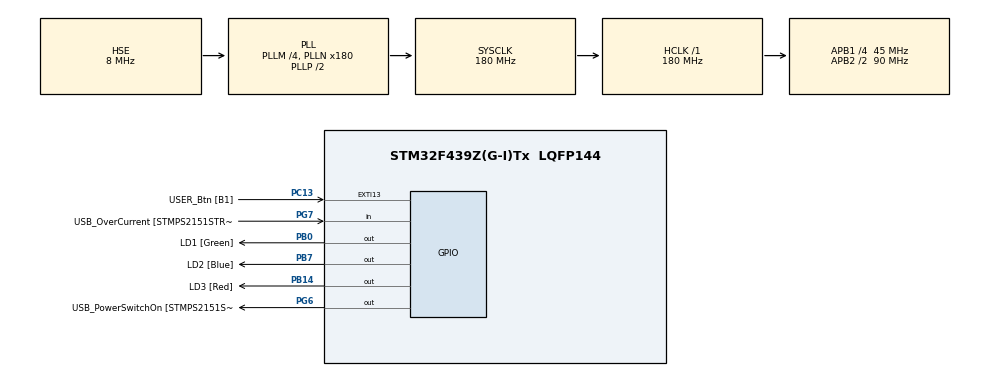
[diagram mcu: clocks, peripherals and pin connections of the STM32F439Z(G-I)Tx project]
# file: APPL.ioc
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FREERTOS.BinarySemaphores01=BinSem,Dynamic,NULL
FREERTOS.INCLUDE_vTaskDelayUntil=1
FREERTOS.Tasks01=TSK_Idle,-3,128,TSK_IdleFun,Default,NULL,Dynamic,NULL,NULL;TSK_Led,-1,128,TSK_LedFun,Default,NULL,Dynamic,NULL,NULL;TSK_Com,0,128,TSK_ComFun,Default,NULL,Dynamic,NULL,NULL;TSK_SIM,3,128,TSK_SIMFun,Default,NULL,Dynamic,NULL,NULL;TSK_MCP23017,3,128,TSK_MCP23017Fun,Default,NULL,Dynamic,NULL,NULL
Mcu.Family=STM32F4
Mcu.Name=STM32F439Z(G-I)Tx
Mcu.Package=LQFP144
Mcu.UserConstants=PERIOD_TSK_LED,10;PERIOD_TSK_COM,500;PERIOD_TSK_SIM,10
NVIC.PriorityGroup=NVIC_PRIORITYGROUP_4
NVIC.TIM1_UP_TIM10_IRQn=true\:5\:0\:false\:false\:true\:false\:false\:true\:true
NVIC.TIM2_IRQn=true\:5\:0\:false\:false\:true\:true\:true\:true\:true
NVIC.TimeBase=TIM1_UP_TIM10_IRQn
NVIC.TimeBaseIP=TIM1
PA1.GPIO_Label=RMII_REF_CLK [LAN8742A-CZ-TR_REFCLK0]
PA1.Signal=ETH_REF_CLK
PA10.GPIO_Label=USB_ID
PA10.Signal=USB_OTG_FS_ID
PA11.GPIO_Label=USB_DM
PA11.Signal=USB_OTG_FS_DM
PA12.GPIO_Label=USB_DP
PA12.Signal=USB_OTG_FS_DP
PA13.GPIO_Label=TMS
PA13.Mode=Serial_Wire
PA13.Signal=SYS_JTMS-SWDIO
PA14.GPIO_Label=TCK
PA14.Mode=Serial_Wire
PA14.Signal=SYS_JTCK-SWCLK
PA2.GPIO_Label=RMII_MDIO [LAN8742A-CZ-TR_MDIO]
PA2.Signal=ETH_MDIO
PA7.GPIO_Label=RMII_CRS_DV [LAN8742A-CZ-TR_CRS_DV]
PA7.Signal=ETH_CRS_DV
PA8.GPIO_Label=USB_SOF [TP1]
PA8.Signal=USB_OTG_FS_SOF
PA9.GPIO_Label=USB_VBUS
PA9.Signal=USB_OTG_FS_VBUS
PB0.GPIO_Label=LD1 [Green]
PB0.Signal=GPIO_Output
PB13.GPIO_Label=RMII_TXD1 [LAN8742A-CZ-TR_TXD1]
PB13.Signal=ETH_TXD1
PB14.GPIO_Label=LD3 [Red]
PB14.Signal=GPIO_Output
PB7.GPIO_Label=LD2 [Blue]
PB7.Signal=GPIO_Output
PC1.GPIO_Label=RMII_MDC [LAN8742A-CZ-TR_MDC]
PC1.Signal=ETH_MDC
PC13.GPIO_Label=USER_Btn [B1]
PC13.Signal=GPXTI13
PC14/OSC32_IN.Mode=LSE-External-Oscillator
PC14/OSC32_IN.Signal=RCC_OSC32_IN
PC15/OSC32_OUT.Mode=LSE-External-Oscillator
PC15/OSC32_OUT.Signal=RCC_OSC32_OUT
PC4.GPIO_Label=RMII_RXD0 [LAN8742A-CZ-TR_RXD0]
PC4.Signal=ETH_RXD0
PC5.GPIO_Label=RMII_RXD1 [LAN8742A-CZ-TR_RXD1]
PC5.Signal=ETH_RXD1
PD8.GPIO_Label=STLK_RX [STM32F103CBT6_PA3]
PD8.Signal=USART3_TX
PD9.GPIO_Label=STLK_TX [STM32F103CBT6_PA2]
PD9.Signal=USART3_RX
PG11.GPIO_Label=RMII_TX_EN [LAN8742A-CZ-TR_TXEN]
PG11.Signal=ETH_TX_EN
PG13.GPIO_Label=RMII_TXD0 [LAN8742A-CZ-TR_TXD0]
PG13.Signal=ETH_TXD0
PG6.GPIO_Label=USB_PowerSwitchOn [STMPS2151STR_EN]
PG6.Signal=GPIO_Output
PG7.GPIO_Label=USB_OverCurrent [STMPS2151STR_FAULT]
PG7.Signal=GPIO_Input
PH0/OSC_IN.GPIO_Label=MCO [STM32F103CBT6_PA8]
PH0/OSC_IN.Mode=HSE-External-Oscillator
PH0/OSC_IN.Signal=RCC_OSC_IN
PH1/OSC_OUT.Mode=HSE-External-Oscillator
PH1/OSC_OUT.Signal=RCC_OSC_OUT
ProjectManager.HeapSize=0x200
ProjectManager.StackSize=0x400
ProjectManager.TargetToolchain=STM32CubeIDE
RCC.48MHZClocksFreq_Value=51428571.428571425
RCC.AHBFreq_Value=180000000
RCC.APB1CLKDivider=RCC_HCLK_DIV4
RCC.APB1Freq_Value=45000000
RCC.APB1TimFreq_Value=90000000
RCC.APB2CLKDivider=RCC_HCLK_DIV2
RCC.APB2Freq_Value=90000000
RCC.APB2TimFreq_Value=180000000
RCC.CortexFreq_Value=180000000
RCC.HCLKFreq_Value=180000000
RCC.HSE_VALUE=8000000
RCC.HSI_VALUE=16000000
RCC.PLLM=4
RCC.PLLMUL=RCC_PLL_MUL9
RCC.PLLN=180
RCC.PLLQ=7
RCC.PLLSourceVirtual=RCC_PLLSOURCE_HSE
RCC.PRESCALERUSB=RCC_USBCLKSOURCE_PLL_DIV1_5
RCC.SYSCLKFreq_VALUE=180000000
RCC.SYSCLKSource=RCC_SYSCLKSOURCE_PLLCLK
RCC.SYSCLKSourceVirtual=RCC_SYSCLKSOURCE_PLLCLK
RCC.USBFreq_Value=48000000
RCC.VCOOutputFreq_Value=360000000
TIM10.Period=65536-1
TIM10.Prescaler=180-1
TIM2.AutoReloadPreload=TIM_AUTORELOAD_PRELOAD_ENABLE
TIM2.Period=19999
TIM2.Prescaler=95
VP_FREERTOS_VS_CMSIS_V1.Mode=CMSIS_V1
VP_SYS_VS_tim1.Mode=TIM1
VP_TIM10_VS_ClockSourceINT.Mode=Enable_Timer
VP_TIM2_VS_ClockSourceINT.Mode=Internal
board=NUCLEO-F439ZI

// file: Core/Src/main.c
/* USER CODE BEGIN Header */
/**
  ******************************************************************************
  * @file           : main.c
  * @brief          : Main program body
  ******************************************************************************
  * @attention
  *
  * Copyright (c) 2022 STMicroelectronics.
  * All rights reserved.
  *
  * This software is licensed under terms that can be found in the LICENSE file
  * in the root directory of this software component.
  * If no LICENSE file comes with this software, it is provided AS-IS.
  *
  ******************************************************************************
  */
/* USER CODE END Header */
#include "main.h"
#include "cmsis_os.h"
#include "tim.h"
#include "gpio.h"

/* USER CODE BEGIN Includes */
#include "I2C.h"
#include "MCP23017.h"
#include "UARTM.h"
#include "MSGM.h"
#include "SIM.h"
#include "WDTIM.h"
/* USER CODE END Includes */

void SystemClock_Config(void);
void MX_FREERTOS_Init(void);

int main(void)
{

  /* MCU Configuration--------------------------------------------------------*/

  /* Reset of all peripherals, Initializes the Flash interface and the Systick. */
  HAL_Init();

  /* USER CODE BEGIN Init */
  UARTM_v_Uart2Config();
  UARTM_v_Uart3Config();
  I2C_v_Configure();
  MCP23017_v_EXTI1_Configuration();
  /* USER CODE END Init */

  /* Configure the system clock */
  SystemClock_Config();

  /* Initialize all configured peripherals */
  MX_GPIO_Init();
  MX_TIM2_Init();
  MX_TIM10_Init();
  /* USER CODE BEGIN 2 */
  // Start timer
  HAL_TIM_Base_Start_IT(&htim2);
  HAL_TIM_Base_Start(&htim10);

  MCP23017_v_Init();
  SIM_v_Setup();

  /* USER CODE END 2 */

  /* Call init function for freertos objects (in freertos.c) */
  MX_FREERTOS_Init();

  /* Start scheduler */
  osKernelStart();

  /* We should never get here as control is now taken by the scheduler */
  /* Infinite loop */
  while (1)
  {

  }
}

void SystemClock_Config(void)
{
  RCC_OscInitTypeDef RCC_OscInitStruct = {0};
  RCC_ClkInitTypeDef RCC_ClkInitStruct = {0};

  /** Configure the main internal regulator output voltage
  */
  __HAL_RCC_PWR_CLK_ENABLE();
  __HAL_PWR_VOLTAGESCALING_CONFIG(PWR_REGULATOR_VOLTAGE_SCALE1);

  /** Initializes the RCC Oscillators according to the specified parameters
  * in the RCC_OscInitTypeDef structure.
  */
  RCC_OscInitStruct.OscillatorType = RCC_OSCILLATORTYPE_HSE;
  RCC_OscInitStruct.HSEState = RCC_HSE_ON;
  RCC_OscInitStruct.PLL.PLLState = RCC_PLL_ON;
  RCC_OscInitStruct.PLL.PLLSource = RCC_PLLSOURCE_HSE;
  RCC_OscInitStruct.PLL.PLLM = 4;
  RCC_OscInitStruct.PLL.PLLN = 180;
  RCC_OscInitStruct.PLL.PLLP = RCC_PLLP_DIV2;
  RCC_OscInitStruct.PLL.PLLQ = 7;
  if (HAL_RCC_OscConfig(&RCC_OscInitStruct) != HAL_OK)
  {
    Error_Handler();
  }

  /** Activate the Over-Drive mode
  */
  if (HAL_PWREx_EnableOverDrive() != HAL_OK)
  {
    Error_Handler();
  }

  /** Initializes the CPU, AHB and APB buses clocks
  */
  RCC_ClkInitStruct.ClockType = RCC_CLOCKTYPE_HCLK|RCC_CLOCKTYPE_SYSCLK
                              |RCC_CLOCKTYPE_PCLK1|RCC_CLOCKTYPE_PCLK2;
  RCC_ClkInitStruct.SYSCLKSource = RCC_SYSCLKSOURCE_PLLCLK;
  RCC_ClkInitStruct.AHBCLKDivider = RCC_SYSCLK_DIV1;
  RCC_ClkInitStruct.APB1CLKDivider = RCC_HCLK_DIV4;
  RCC_ClkInitStruct.APB2CLKDivider = RCC_HCLK_DIV2;

  if (HAL_RCC_ClockConfig(&RCC_ClkInitStruct, FLASH_LATENCY_5) != HAL_OK)
  {
    Error_Handler();
  }
}

void HAL_TIM_PeriodElapsedCallback(TIM_HandleTypeDef *htim)
{
  if (htim->Instance == TIM1) {
    HAL_IncTick();
  }
  /* USER CODE BEGIN Callback 1 */
  if (htim->Instance == TIM2) {
    }
  /* USER CODE END Callback 1 */
}

void Error_Handler(void)
{
  __disable_irq();
  while (1)
  {
  }
}

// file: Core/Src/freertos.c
/* USER CODE BEGIN Header */
/**
  ******************************************************************************
  * File Name          : freertos.c
  * Description        : Code for freertos applications
  ******************************************************************************
  * @attention
  *
  * Copyright (c) 2022 STMicroelectronics.
  * All rights reserved.
  *
  * This software is licensed under terms that can be found in the LICENSE file
  * in the root directory of this software component.
  * If no LICENSE file comes with this software, it is provided AS-IS.
  *
  ******************************************************************************
  */
/* USER CODE END Header */

#include "FreeRTOS.h"
#include "task.h"
#include "main.h"
#include "cmsis_os.h"

/* USER CODE BEGIN Includes */
#include "LEDM.h"
#include "MSGM.h"
#include "UARTM.h"
#include "I2C.h"
#include "MCP23017.h"
#include "MONITOR.h"
#include "SIM.h"
#include "WDTIM.h"
#include "tim.h"
/* USER CODE END Includes */

/* USER CODE BEGIN Variables */
SemaphoreHandle_t xSemaphore;
/* USER CODE END Variables */
osThreadId TSK_IdleHandle;
osThreadId TSK_LedHandle;
osThreadId TSK_ComHandle;
osThreadId TSK_SIMHandle;
osThreadId TSK_MCP23017Handle;
osSemaphoreId BinSemHandle;

/* USER CODE BEGIN FunctionPrototypes */
//osSemaphoreId * FREERTOS_p_GetSemaphore(void);
/* USER CODE END FunctionPrototypes */

void TSK_IdleFun(void const * argument);
void TSK_LedFun(void const * argument);
void TSK_ComFun(void const * argument);
void TSK_SIMFun(void const * argument);
void TSK_MCP23017Fun(void const * argument);

void MX_FREERTOS_Init(void); /* (MISRA C 2004 rule 8.1) */

/* GetIdleTaskMemory prototype (linked to static allocation support) */
void vApplicationGetIdleTaskMemory( StaticTask_t **ppxIdleTaskTCBBuffer, StackType_t **ppxIdleTaskStackBuffer, uint32_t *pulIdleTaskStackSize );

/* USER CODE BEGIN GET_IDLE_TASK_MEMORY */
static StaticTask_t xIdleTaskTCBBuffer;
static StackType_t xIdleStack[configMINIMAL_STACK_SIZE];

void vApplicationGetIdleTaskMemory( StaticTask_t **ppxIdleTaskTCBBuffer, StackType_t **ppxIdleTaskStackBuffer, uint32_t *pulIdleTaskStackSize )
{
  *ppxIdleTaskTCBBuffer = &xIdleTaskTCBBuffer;
  *ppxIdleTaskStackBuffer = &xIdleStack[0];
  *pulIdleTaskStackSize = configMINIMAL_STACK_SIZE;
  /* place for user code */
}
/* USER CODE END GET_IDLE_TASK_MEMORY */

void MX_FREERTOS_Init(void) {

  /* Create the semaphores(s) */
  /* definition and creation of BinSem */
  osSemaphoreDef(BinSem);
  BinSemHandle = osSemaphoreCreate(osSemaphore(BinSem), 1);

  /* USER CODE BEGIN RTOS_SEMAPHORES */
  /* add semaphores, ... */
  xSemaphore = xSemaphoreCreateBinary();
  // The semaphore is created in the 'empty' state, meaning the semaphore must first be given
  xSemaphoreGive(xSemaphore);
  xSemaphoreTake(xSemaphore, osWaitForever);
  /* USER CODE END RTOS_SEMAPHORES */

  /* Create the thread(s) */
  /* definition and creation of TSK_Idle */
  osThreadDef(TSK_Idle, TSK_IdleFun, osPriorityIdle, 0, 128);
  TSK_IdleHandle = osThreadCreate(osThread(TSK_Idle), NULL);

  /* definition and creation of TSK_Led */
  osThreadDef(TSK_Led, TSK_LedFun, osPriorityBelowNormal, 0, 128);
  TSK_LedHandle = osThreadCreate(osThread(TSK_Led), NULL);

  /* definition and creation of TSK_Com */
  osThreadDef(TSK_Com, TSK_ComFun, osPriorityNormal, 0, 128);
  TSK_ComHandle = osThreadCreate(osThread(TSK_Com), NULL);

  /* definition and creation of TSK_SIM */
  osThreadDef(TSK_SIM, TSK_SIMFun, osPriorityRealtime, 0, 128);
  TSK_SIMHandle = osThreadCreate(osThread(TSK_SIM), NULL);

  /* definition and creation of TSK_MCP23017 */
  osThreadDef(TSK_MCP23017, TSK_MCP23017Fun, osPriorityRealtime, 0, 128);
  TSK_MCP23017Handle = osThreadCreate(osThread(TSK_MCP23017), NULL);

}

void TSK_IdleFun(void const * argument)
{
  /* USER CODE BEGIN TSK_IdleFun */
  /* Infinite loop */
  for(;;)
  {
//  osDelay(1);
  }
  /* USER CODE END TSK_IdleFun */
}

void TSK_LedFun(void const * argument)
{
  /* USER CODE BEGIN TSK_LedFun */
	TickType_t xLastWakeTime = xTaskGetTickCount();
  /* Infinite loop */
  for(;;)
  {
	Task_LED_CP_Start();
	LEDM_v_Main();
	vTaskDelayUntil(&xLastWakeTime, (const TickType_t)PERIOD_TSK_LED);
	Task_LED_CP_End();
  }
  /* USER CODE END TSK_LedFun */
}

void TSK_ComFun(void const * argument)
{
  /* USER CODE BEGIN TSK_ComFun */
	TickType_t xLastWakeTime = xTaskGetTickCount();
  /* Infinite loop */
  for(;;)
  {
	// If xTicksToWait is zero, then xSemaphoreTake() will return immediately if the semaphore is not available.
	xSemaphoreTake(xSemaphore, osWaitForever);
	MSGM_v_StateMachine();
	vTaskDelayUntil(&xLastWakeTime, (const TickType_t)PERIOD_TSK_COM);
  }
  /* USER CODE END TSK_ComFun */
}

void TSK_SIMFun(void const * argument)
{
  /* USER CODE BEGIN TSK_SIMFun */
	TickType_t xLastWakeTime = xTaskGetTickCount();
  /* Infinite loop */
  for(;;)
  {
	// Task should enter critical section in order to call the number and receive coordinates without rewriting them
	taskENTER_CRITICAL();
	// Set flag indicates that the SIM module is in any function other than idle
	boolean b_SemFlag = SIM_b_GetFlag();
	do
	{
	  SIM_v_StateMachine();
	  b_SemFlag = SIM_b_GetFlag();
	}
	while(b_SemFlag == b_TRUE);
	xSemaphoreGive(xSemaphore);
	// SIM task should exit critical section when SIM state machine reaches Read function because the next function is idle
	taskEXIT_CRITICAL();
	vTaskDelayUntil(&xLastWakeTime, (const TickType_t)PERIOD_TSK_SIM);
  }
  /* USER CODE END TSK_SIMFun */
}

void TSK_MCP23017Fun(void const * argument)
{
  /* USER CODE BEGIN TSK_MCP23017Fun */
	TickType_t xLastWakeTime = xTaskGetTickCount();
  /* Infinite loop */
  for(;;)
  {
	MCP23017_v_TurnLEDviaCoordinates();
	vTaskDelayUntil(&xLastWakeTime, (const TickType_t)PERIOD_TSK_COM);
  }
  /* USER CODE END TSK_MCP23017Fun */
}
